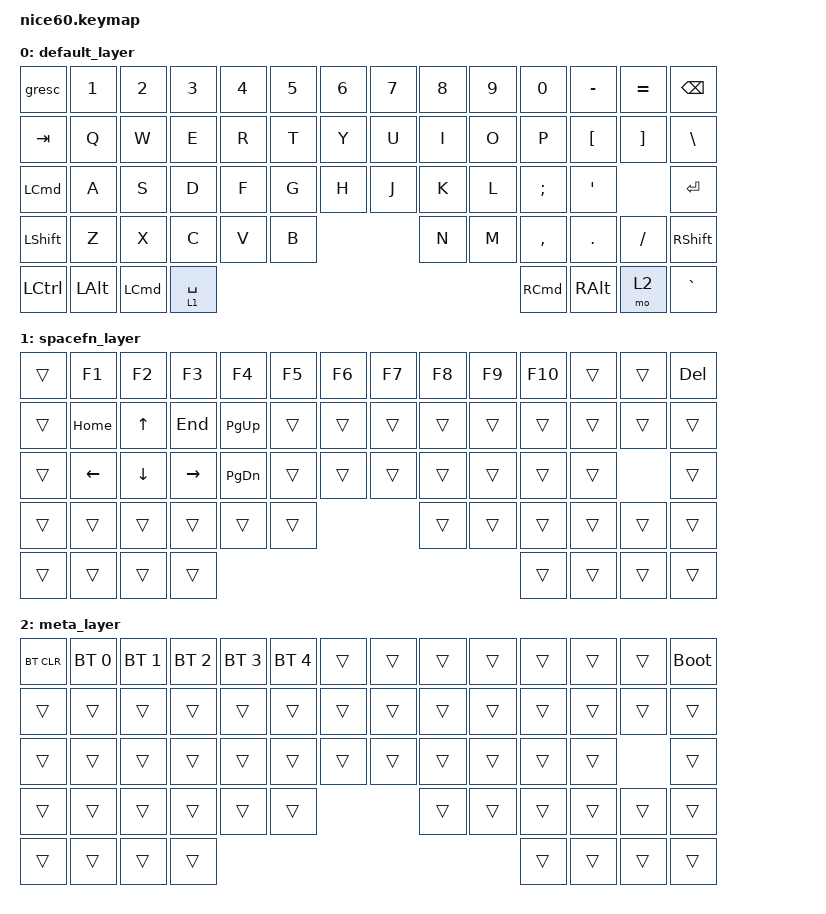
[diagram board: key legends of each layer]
/*
 * Copyright (c) 2021 Nick Winans
 *
 * SPDX-License-Identifier: MIT
 */

#include <behaviors.dtsi>
#include <dt-bindings/zmk/keys.h>
#include <dt-bindings/zmk/bt.h>

/ {
    keymap {
        compatible = "zmk,keymap";

        default_layer {
            // ------------------------------------------------------------------------------------------
            // | ESC |  1  |  2  |  3  |  4  |  5  |  6  |  7  |  8  |  9  |  0  |  -  |  =  |   BKSP   |
            // | TAB  |  Q  |  W  |  E  |  R  |  T  |  Y  |  U  |  I  |  O  |  P  |  [  |  ]  |   "|"   |
            // | CAPS  |  A  |  S  |  D  |  F  |  G  |  H  |  J  |  K  |  L  |  ;  |  '  |     ENTER    |
            // |  SHIFT  |  Z  |  X  |  C  |  V  |  B  |  N  |  M  |  ,  |  .  |  /  |      SHIFT       |
            // |  CTL  |  WIN  |  ALT  |            SPACE              |  ALT  |  WIN  |  MO(1) |  CTL  |
            // ------------------------------------------------------------------------------------------

            bindings = <
           &gresc        &kp N1  &kp N2            &kp N3  &kp N4  &kp N5       &kp N6  &kp N7  &kp N8     &kp N9             &kp N0      &kp MINUS  &kp EQUAL           &kp BSPC
          &kp TAB         &kp Q   &kp W             &kp E   &kp R   &kp T        &kp Y   &kp U   &kp I      &kp O              &kp P       &kp LBKT   &kp RBKT           &kp BSLH
 &kp LEFT_COMMAND         &kp A   &kp S             &kp D   &kp F   &kp G        &kp H   &kp J   &kp K      &kp L           &kp SEMI        &kp SQT                       &kp RET
        &kp LSHFT                 &kp Z             &kp X   &kp C   &kp V        &kp B   &kp N   &kp M  &kp COMMA            &kp DOT       &kp FSLH                     &kp RSHFT
        &kp LCTRL  &kp LEFT_ALT          &kp LEFT_COMMAND                  &lt 1 SPACE                             &kp RIGHT_COMMAND  &kp RIGHT_ALT      &mo 2          &kp GRAVE
            >;
        };

        spacefn_layer {
            bindings = <
 &trans          &kp F1          &kp F2           &kp F3         &kp F4  &kp F5  &kp F6  &kp F7  &kp F8  &kp F9  &kp F10  &trans  &trans          &kp DEL
 &trans        &kp HOME    &kp UP_ARROW          &kp END    &kp PAGE_UP  &trans  &trans  &trans  &trans  &trans   &trans  &trans  &trans           &trans
 &trans  &kp LEFT_ARROW  &kp DOWN_ARROW  &kp RIGHT_ARROW  &kp PAGE_DOWN  &trans  &trans  &trans  &trans  &trans   &trans  &trans                   &trans
 &trans                          &trans           &trans         &trans  &trans  &trans  &trans  &trans  &trans   &trans  &trans                   &trans
 &trans          &trans                           &trans                         &trans                           &trans  &trans  &trans           &trans
            >;
        };

        meta_layer {
            bindings = <
 &bt BT_CLR  &bt BT_SEL 0  &bt BT_SEL 1  &bt BT_SEL 2  &bt BT_SEL 3  &bt BT_SEL 4  &trans  &trans  &trans  &trans  &trans  &trans  &trans          &bootloader
     &trans        &trans        &trans        &trans        &trans        &trans  &trans  &trans  &trans  &trans  &trans  &trans  &trans               &trans
     &trans        &trans        &trans        &trans        &trans        &trans  &trans  &trans  &trans  &trans  &trans  &trans                       &trans
     &trans                      &trans        &trans        &trans        &trans  &trans  &trans  &trans  &trans  &trans  &trans                       &trans
     &trans        &trans                      &trans                              &trans                          &trans  &trans  &trans               &trans
            >;
        };
    };
};
